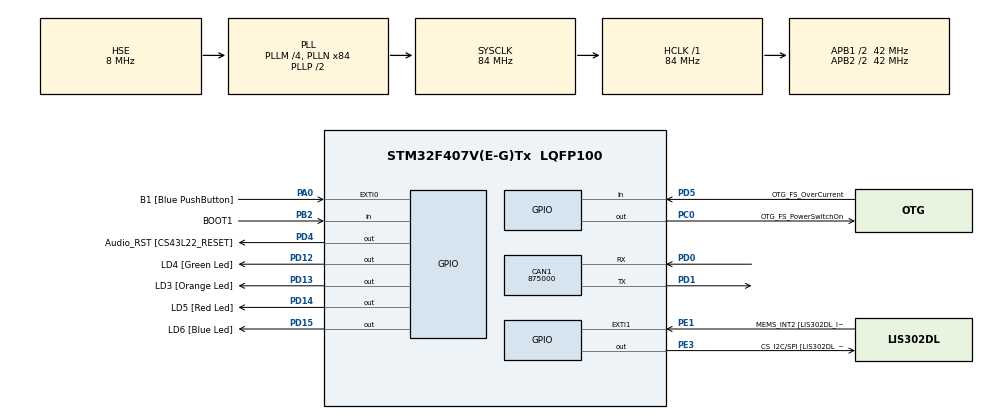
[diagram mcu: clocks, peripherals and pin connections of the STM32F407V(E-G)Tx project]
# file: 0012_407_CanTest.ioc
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CAN1.CalculateBaudRate=875000
CAN1.CalculateTimeBit=1142
CAN1.CalculateTimeQuantum=380.95238095238096
Mcu.Family=STM32F4
Mcu.Name=STM32F407V(E-G)Tx
Mcu.Package=LQFP100
NVIC.PriorityGroup=NVIC_PRIORITYGROUP_0
PA0-WKUP.GPIO_Label=B1 [Blue PushButton]
PA0-WKUP.GPIO_ModeDefaultEXTI=GPIO_MODE_EVT_RISING
PA0-WKUP.GPIO_PuPd=GPIO_NOPULL
PA0-WKUP.Signal=GPXTI0
PA10.GPIO_Label=OTG_FS_ID
PA10.GPIO_Mode=GPIO_MODE_AF_PP
PA10.GPIO_PuPd=GPIO_NOPULL
PA10.GPIO_Speed=GPIO_SPEED_FREQ_LOW
PA10.Signal=USB_OTG_FS_ID
PA11.GPIO_Label=OTG_FS_DM
PA11.GPIO_Mode=GPIO_MODE_AF_PP
PA11.GPIO_PuPd=GPIO_NOPULL
PA11.GPIO_Speed=GPIO_SPEED_FREQ_LOW
PA11.Signal=USB_OTG_FS_DM
PA12.GPIO_Label=OTG_FS_DP
PA12.GPIO_Mode=GPIO_MODE_AF_PP
PA12.GPIO_PuPd=GPIO_NOPULL
PA12.GPIO_Speed=GPIO_SPEED_FREQ_LOW
PA12.Signal=USB_OTG_FS_DP
PA13.GPIO_Label=SWDIO
PA13.Mode=Serial_Wire
PA13.Signal=SYS_JTMS-SWDIO
PA14.GPIO_Label=SWCLK
PA14.Mode=Serial_Wire
PA14.Signal=SYS_JTCK-SWCLK
PA4.GPIO_Label=I2S3_WS [CS43L22_LRCK]
PA4.GPIO_Mode=GPIO_MODE_AF_PP
PA4.GPIO_PuPd=GPIO_NOPULL
PA4.GPIO_Speed=GPIO_SPEED_FREQ_LOW
PA4.Signal=I2S3_WS
PA5.GPIO_Label=SPI1_SCK [LIS302DL_SCL/SPC]
PA5.GPIO_Mode=GPIO_MODE_AF_PP
PA5.GPIO_PuPd=GPIO_NOPULL
PA5.GPIO_Speed=GPIO_SPEED_FREQ_LOW
PA5.Signal=SPI1_SCK
PA6.GPIO_Label=SPI1_MISO [LIS302DL_SDO]
PA6.GPIO_Mode=GPIO_MODE_AF_PP
PA6.GPIO_PuPd=GPIO_NOPULL
PA6.GPIO_Speed=GPIO_SPEED_FREQ_LOW
PA6.Signal=SPI1_MISO
PA7.GPIO_Label=SPI1_MOSI [LIS302DL_SDA/SDI/SDO]
PA7.GPIO_Mode=GPIO_MODE_AF_PP
PA7.GPIO_PuPd=GPIO_NOPULL
PA7.GPIO_Speed=GPIO_SPEED_FREQ_LOW
PA7.Signal=SPI1_MOSI
PA9.GPIO_Label=VBUS_FS
PA9.GPIO_Mode=GPIO_MODE_INPUT
PA9.GPIO_PuPd=GPIO_NOPULL
PA9.Signal=USB_OTG_FS_VBUS
PB10.GPIO_Label=CLK_IN [MP45DT02_CLK]
PB10.GPIO_Mode=GPIO_MODE_AF_PP
PB10.GPIO_PuPd=GPIO_NOPULL
PB10.GPIO_Speed=GPIO_SPEED_FREQ_LOW
PB10.Signal=I2S2_CK
PB2.GPIO_Label=BOOT1
PB2.GPIO_Mode=GPIO_MODE_INPUT
PB2.GPIO_PuPd=GPIO_NOPULL
PB2.Signal=GPIO_Input
PB3.GPIO_Label=SWO
PB3.Signal=SYS_JTDO-SWO
PB6.GPIO_Label=Audio_SCL [CS43L22_SCL]
PB6.GPIO_Mode=GPIO_MODE_AF_OD
PB6.GPIO_Pu=GPIO_PULLUP
PB6.GPIO_PuPd=GPIO_NOPULL
PB6.GPIO_Speed=GPIO_SPEED_FREQ_LOW
PB6.Signal=I2C1_SCL
PC0.GPIO_Label=OTG_FS_PowerSwitchOn
PC0.GPIO_PuPd=GPIO_NOPULL
PC0.GPIO_Speed=GPIO_SPEED_FREQ_LOW
PC0.PinState=GPIO_PIN_SET
PC0.Signal=GPIO_Output
PC10.GPIO_Label=I2S3_SCK [CS43L22_SCLK]
PC10.GPIO_Mode=GPIO_MODE_AF_PP
PC10.GPIO_PuPd=GPIO_NOPULL
PC10.GPIO_Speed=GPIO_SPEED_FREQ_LOW
PC10.Signal=I2S3_CK
PC12.GPIO_Label=I2S3_SD [CS43L22_SDIN]
PC12.GPIO_Mode=GPIO_MODE_AF_PP
PC12.GPIO_PuPd=GPIO_NOPULL
PC12.GPIO_Speed=GPIO_SPEED_FREQ_LOW
PC12.Signal=I2S3_SD
PC14-OSC32_IN.GPIO_Label=PC14-OSC32_IN
PC14-OSC32_IN.Mode=LSE-External-Oscillator
PC14-OSC32_IN.Signal=RCC_OSC32_IN
PC15-OSC32_OUT.GPIO_Label=PC15-OSC32_OUT
PC15-OSC32_OUT.Mode=LSE-External-Oscillator
PC15-OSC32_OUT.Signal=RCC_OSC32_OUT
PC3.GPIO_Label=PDM_OUT [MP45DT02_DOUT]
PC3.GPIO_Mode=GPIO_MODE_AF_PP
PC3.GPIO_PuPd=GPIO_NOPULL
PC3.GPIO_Speed=GPIO_SPEED_FREQ_LOW
PC3.Signal=I2S2_SD
PC7.GPIO_Label=I2S3_MCK [CS43L22_MCLK]
PC7.GPIO_Mode=GPIO_MODE_AF_PP
PC7.GPIO_PuPd=GPIO_NOPULL
PC7.GPIO_Speed=GPIO_SPEED_FREQ_LOW
PC7.Signal=I2S3_MCK
PD0.Mode=CAN_Activate
PD0.Signal=CAN1_RX
PD1.Mode=CAN_Activate
PD1.Signal=CAN1_TX
PD12.GPIO_Label=LD4 [Green Led]
PD12.GPIO_PuPd=GPIO_NOPULL
PD12.GPIO_Speed=GPIO_SPEED_FREQ_LOW
PD12.Signal=GPIO_Output
PD13.GPIO_Label=LD3 [Orange Led]
PD13.GPIO_PuPd=GPIO_NOPULL
PD13.GPIO_Speed=GPIO_SPEED_FREQ_LOW
PD13.Signal=GPIO_Output
PD14.GPIO_Label=LD5 [Red Led]
PD14.GPIO_PuPd=GPIO_NOPULL
PD14.GPIO_Speed=GPIO_SPEED_FREQ_LOW
PD14.Signal=GPIO_Output
PD15.GPIO_Label=LD6 [Blue Led]
PD15.GPIO_PuPd=GPIO_NOPULL
PD15.GPIO_Speed=GPIO_SPEED_FREQ_LOW
PD15.Signal=GPIO_Output
PD4.GPIO_Label=Audio_RST [CS43L22_RESET]
PD4.GPIO_PuPd=GPIO_NOPULL
PD4.GPIO_Speed=GPIO_SPEED_FREQ_LOW
PD4.Signal=GPIO_Output
PD5.GPIO_Label=OTG_FS_OverCurrent
PD5.GPIO_Mode=GPIO_MODE_INPUT
PD5.GPIO_PuPd=GPIO_NOPULL
PD5.Signal=GPIO_Input
PE1.GPIO_Label=MEMS_INT2 [LIS302DL_INT2]
PE1.GPIO_ModeDefaultEXTI=GPIO_MODE_EVT_RISING
PE1.GPIO_PuPd=GPIO_NOPULL
PE1.Signal=GPXTI1
PE3.GPIO_Label=CS_I2C/SPI [LIS302DL_CS_I2C/SPI]
PE3.GPIO_PuPd=GPIO_NOPULL
PE3.GPIO_Speed=GPIO_SPEED_FREQ_LOW
PE3.Signal=GPIO_Output
PH0-OSC_IN.GPIO_Label=PH0-OSC_IN
PH0-OSC_IN.Mode=HSE-External-Oscillator
PH0-OSC_IN.Signal=RCC_OSC_IN
PH1-OSC_OUT.GPIO_Label=PH1-OSC_OUT
PH1-OSC_OUT.Mode=HSE-External-Oscillator
PH1-OSC_OUT.Signal=RCC_OSC_OUT
ProjectManager.HeapSize=0x2000
ProjectManager.StackSize=0x4000
ProjectManager.TargetToolchain=STM32CubeIDE
RCC.48MHZClocksFreq_Value=24000000
RCC.AHBFreq_Value=84000000
RCC.APB1CLKDivider=RCC_HCLK_DIV2
RCC.APB1Freq_Value=42000000
RCC.APB1TimFreq_Value=84000000
RCC.APB2CLKDivider=RCC_HCLK_DIV2
RCC.APB2Freq_Value=42000000
RCC.APB2TimFreq_Value=84000000
RCC.CortexFreq_Value=84000000
RCC.HCLKFreq_Value=84000000
RCC.HSE_VALUE=8000000
RCC.HSI_VALUE=16000000
RCC.PLLM=4
RCC.PLLN=84
RCC.PLLQ=7
RCC.PLLSourceVirtual=RCC_PLLSOURCE_HSE
RCC.SYSCLKFreq_VALUE=84000000
RCC.SYSCLKSource=RCC_SYSCLKSOURCE_PLLCLK
RCC.VCOOutputFreq_Value=168000000
board=STM32F407G-DISC1

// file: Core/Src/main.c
/* USER CODE BEGIN Header */
/**
  ******************************************************************************
  * @file           : main.c
  * @brief          : Main program body
  ******************************************************************************
  * @attention
  *
  * Copyright (c) 2022 STMicroelectronics.
  * All rights reserved.
  *
  * This software is licensed under terms that can be found in the LICENSE file
  * in the root directory of this software component.
  * If no LICENSE file comes with this software, it is provided AS-IS.
  *
  ******************************************************************************
  */
/* USER CODE END Header */
#include "main.h"

CAN_HandleTypeDef hcan1;

/* USER CODE BEGIN PV */
CAN_TxHeaderTypeDef pHeader; //declare a specific header for message transmittions
CAN_RxHeaderTypeDef pRxHeader; //declare header for message reception
uint32_t TxMailbox;
uint8_t a[8],r[8]; //declare byte to be transmitted //declare a receive byte
CAN_FilterTypeDef sFilterConfig; //declare CAN filter structure
/* USER CODE END PV */

void SystemClock_Config(void);
static void MX_GPIO_Init(void);
static void MX_CAN1_Init(void);

int main(void)
{

  /* MCU Configuration--------------------------------------------------------*/

  /* Reset of all peripherals, Initializes the Flash interface and the Systick. */
  HAL_Init();

  /* Configure the system clock */
  SystemClock_Config();

  /* Initialize all configured peripherals */
  MX_GPIO_Init();
  MX_CAN1_Init();

  /* USER CODE BEGIN 2 */

  HAL_CAN_MspInit(&hcan1);

  //filter one (stack light blink)
  sFilterConfig.FilterFIFOAssignment=CAN_FILTER_FIFO0; //set fifo assignment
  sFilterConfig.FilterIdHigh=0; //the ID that the filter looks for (switch this for the other microcontroller)
  sFilterConfig.FilterIdLow=0;
  sFilterConfig.FilterMaskIdHigh=0;
  sFilterConfig.FilterMaskIdLow=0;
  sFilterConfig.FilterScale=CAN_FILTERSCALE_32BIT; //set filter scale
  sFilterConfig.FilterActivation= CAN_FILTER_ENABLE;

  HAL_CAN_ConfigFilter(&hcan1, &sFilterConfig); //configure CAN filter

  HAL_CAN_Start(&hcan1); //start CAN
  HAL_CAN_ActivateNotification(&hcan1, CAN_IT_RX_FIFO0_MSG_PENDING | CAN_IT_TX_MAILBOX_EMPTY); //enable interrupts

  pHeader.DLC=1; //give message size of 1 byte
  pHeader.IDE=CAN_ID_STD; //set identifier to standard
  pHeader.RTR=CAN_RTR_DATA; //set data type to remote transmission request?
  pHeader.StdId=0x244; //define a standard identifier, used for message identification by filters (switch this for the other microcontroller)

  /* USER CODE END 2 */

  /* Infinite loop */
  while (1)
  {

    /* USER CODE BEGIN 3 */

  	if (HAL_CAN_AddTxMessage(&hcan1, &pHeader, a, &TxMailbox) != HAL_OK)
  	{
  	   Error_Handler ();
  	}

  	HAL_Delay(500);
  	HAL_GPIO_WritePin(GPIOD, GPIO_PIN_15, GPIO_PIN_RESET);
  	HAL_Delay(500);
  	HAL_GPIO_WritePin(GPIOD, GPIO_PIN_15, GPIO_PIN_SET);

  }

  /* USER CODE END 3 */
}

void SystemClock_Config(void)
{
  RCC_OscInitTypeDef RCC_OscInitStruct = {0};
  RCC_ClkInitTypeDef RCC_ClkInitStruct = {0};

  /** Configure the main internal regulator output voltage
  */
  __HAL_RCC_PWR_CLK_ENABLE();
  __HAL_PWR_VOLTAGESCALING_CONFIG(PWR_REGULATOR_VOLTAGE_SCALE1);

  /** Initializes the RCC Oscillators according to the specified parameters
  * in the RCC_OscInitTypeDef structure.
  */
  RCC_OscInitStruct.OscillatorType = RCC_OSCILLATORTYPE_HSE;
  RCC_OscInitStruct.HSEState = RCC_HSE_ON;
  RCC_OscInitStruct.PLL.PLLState = RCC_PLL_ON;
  RCC_OscInitStruct.PLL.PLLSource = RCC_PLLSOURCE_HSE;
  RCC_OscInitStruct.PLL.PLLM = 4;
  RCC_OscInitStruct.PLL.PLLN = 84;
  RCC_OscInitStruct.PLL.PLLP = RCC_PLLP_DIV2;
  RCC_OscInitStruct.PLL.PLLQ = 7;
  if (HAL_RCC_OscConfig(&RCC_OscInitStruct) != HAL_OK)
  {
    Error_Handler();
  }

  /** Initializes the CPU, AHB and APB buses clocks
  */
  RCC_ClkInitStruct.ClockType = RCC_CLOCKTYPE_HCLK|RCC_CLOCKTYPE_SYSCLK
                              |RCC_CLOCKTYPE_PCLK1|RCC_CLOCKTYPE_PCLK2;
  RCC_ClkInitStruct.SYSCLKSource = RCC_SYSCLKSOURCE_PLLCLK;
  RCC_ClkInitStruct.AHBCLKDivider = RCC_SYSCLK_DIV1;
  RCC_ClkInitStruct.APB1CLKDivider = RCC_HCLK_DIV2;
  RCC_ClkInitStruct.APB2CLKDivider = RCC_HCLK_DIV2;

  if (HAL_RCC_ClockConfig(&RCC_ClkInitStruct, FLASH_LATENCY_2) != HAL_OK)
  {
    Error_Handler();
  }
}

static void MX_CAN1_Init(void)
{

  hcan1.Instance = CAN1;
  hcan1.Init.Prescaler = 16;
  hcan1.Init.Mode = CAN_MODE_NORMAL;
  hcan1.Init.SyncJumpWidth = CAN_SJW_1TQ;
  hcan1.Init.TimeSeg1 = CAN_BS1_1TQ;
  hcan1.Init.TimeSeg2 = CAN_BS2_1TQ;
  hcan1.Init.TimeTriggeredMode = DISABLE;
  hcan1.Init.AutoBusOff = DISABLE;
  hcan1.Init.AutoWakeUp = DISABLE;
  hcan1.Init.AutoRetransmission = DISABLE;
  hcan1.Init.ReceiveFifoLocked = DISABLE;
  hcan1.Init.TransmitFifoPriority = DISABLE;
  if (HAL_CAN_Init(&hcan1) != HAL_OK)
  {
    Error_Handler();
  }

}

static void MX_GPIO_Init(void)
{
  GPIO_InitTypeDef GPIO_InitStruct = {0};

  /* GPIO Ports Clock Enable */
  __HAL_RCC_GPIOE_CLK_ENABLE();
  __HAL_RCC_GPIOC_CLK_ENABLE();
  __HAL_RCC_GPIOH_CLK_ENABLE();
  __HAL_RCC_GPIOA_CLK_ENABLE();
  __HAL_RCC_GPIOB_CLK_ENABLE();
  __HAL_RCC_GPIOD_CLK_ENABLE();

  /*Configure GPIO pin Output Level */
  HAL_GPIO_WritePin(CS_I2C_SPI_GPIO_Port, CS_I2C_SPI_Pin, GPIO_PIN_RESET);

  /*Configure GPIO pin Output Level */
  HAL_GPIO_WritePin(OTG_FS_PowerSwitchOn_GPIO_Port, OTG_FS_PowerSwitchOn_Pin, GPIO_PIN_SET);

  /*Configure GPIO pin Output Level */
  HAL_GPIO_WritePin(GPIOD, LD4_Pin|LD3_Pin|LD5_Pin|LD6_Pin
                          |Audio_RST_Pin, GPIO_PIN_RESET);

  /*Configure GPIO pin : CS_I2C_SPI_Pin */
  GPIO_InitStruct.Pin = CS_I2C_SPI_Pin;
  GPIO_InitStruct.Mode = GPIO_MODE_OUTPUT_PP;
  GPIO_InitStruct.Pull = GPIO_NOPULL;
  GPIO_InitStruct.Speed = GPIO_SPEED_FREQ_LOW;
  HAL_GPIO_Init(CS_I2C_SPI_GPIO_Port, &GPIO_InitStruct);

  /*Configure GPIO pin : OTG_FS_PowerSwitchOn_Pin */
  GPIO_InitStruct.Pin = OTG_FS_PowerSwitchOn_Pin;
  GPIO_InitStruct.Mode = GPIO_MODE_OUTPUT_PP;
  GPIO_InitStruct.Pull = GPIO_NOPULL;
  GPIO_InitStruct.Speed = GPIO_SPEED_FREQ_LOW;
  HAL_GPIO_Init(OTG_FS_PowerSwitchOn_GPIO_Port, &GPIO_InitStruct);

  /*Configure GPIO pin : PDM_OUT_Pin */
  GPIO_InitStruct.Pin = PDM_OUT_Pin;
  GPIO_InitStruct.Mode = GPIO_MODE_AF_PP;
  GPIO_InitStruct.Pull = GPIO_NOPULL;
  GPIO_InitStruct.Speed = GPIO_SPEED_FREQ_LOW;
  GPIO_InitStruct.Alternate = GPIO_AF5_SPI2;
  HAL_GPIO_Init(PDM_OUT_GPIO_Port, &GPIO_InitStruct);

  /*Configure GPIO pin : B1_Pin */
  GPIO_InitStruct.Pin = B1_Pin;
  GPIO_InitStruct.Mode = GPIO_MODE_EVT_RISING;
  GPIO_InitStruct.Pull = GPIO_NOPULL;
  HAL_GPIO_Init(B1_GPIO_Port, &GPIO_InitStruct);

  /*Configure GPIO pin : I2S3_WS_Pin */
  GPIO_InitStruct.Pin = I2S3_WS_Pin;
  GPIO_InitStruct.Mode = GPIO_MODE_AF_PP;
  GPIO_InitStruct.Pull = GPIO_NOPULL;
  GPIO_InitStruct.Speed = GPIO_SPEED_FREQ_LOW;
  GPIO_InitStruct.Alternate = GPIO_AF6_SPI3;
  HAL_GPIO_Init(I2S3_WS_GPIO_Port, &GPIO_InitStruct);

  /*Configure GPIO pins : SPI1_SCK_Pin SPI1_MISO_Pin SPI1_MOSI_Pin */
  GPIO_InitStruct.Pin = SPI1_SCK_Pin|SPI1_MISO_Pin|SPI1_MOSI_Pin;
  GPIO_InitStruct.Mode = GPIO_MODE_AF_PP;
  GPIO_InitStruct.Pull = GPIO_NOPULL;
  GPIO_InitStruct.Speed = GPIO_SPEED_FREQ_LOW;
  GPIO_InitStruct.Alternate = GPIO_AF5_SPI1;
  HAL_GPIO_Init(GPIOA, &GPIO_InitStruct);

  /*Configure GPIO pin : BOOT1_Pin */
  GPIO_InitStruct.Pin = BOOT1_Pin;
  GPIO_InitStruct.Mode = GPIO_MODE_INPUT;
  GPIO_InitStruct.Pull = GPIO_NOPULL;
  HAL_GPIO_Init(BOOT1_GPIO_Port, &GPIO_InitStruct);

  /*Configure GPIO pin : CLK_IN_Pin */
  GPIO_InitStruct.Pin = CLK_IN_Pin;
  GPIO_InitStruct.Mode = GPIO_MODE_AF_PP;
  GPIO_InitStruct.Pull = GPIO_NOPULL;
  GPIO_InitStruct.Speed = GPIO_SPEED_FREQ_LOW;
  GPIO_InitStruct.Alternate = GPIO_AF5_SPI2;
  HAL_GPIO_Init(CLK_IN_GPIO_Port, &GPIO_InitStruct);

  /*Configure GPIO pins : LD4_Pin LD3_Pin LD5_Pin LD6_Pin
                           Audio_RST_Pin */
  GPIO_InitStruct.Pin = LD4_Pin|LD3_Pin|LD5_Pin|LD6_Pin
                          |Audio_RST_Pin;
  GPIO_InitStruct.Mode = GPIO_MODE_OUTPUT_PP;
  GPIO_InitStruct.Pull = GPIO_NOPULL;
  GPIO_InitStruct.Speed = GPIO_SPEED_FREQ_LOW;
  HAL_GPIO_Init(GPIOD, &GPIO_InitStruct);

  /*Configure GPIO pins : I2S3_MCK_Pin I2S3_SCK_Pin I2S3_SD_Pin */
  GPIO_InitStruct.Pin = I2S3_MCK_Pin|I2S3_SCK_Pin|I2S3_SD_Pin;
  GPIO_InitStruct.Mode = GPIO_MODE_AF_PP;
  GPIO_InitStruct.Pull = GPIO_NOPULL;
  GPIO_InitStruct.Speed = GPIO_SPEED_FREQ_LOW;
  GPIO_InitStruct.Alternate = GPIO_AF6_SPI3;
  HAL_GPIO_Init(GPIOC, &GPIO_InitStruct);

  /*Configure GPIO pin : VBUS_FS_Pin */
  GPIO_InitStruct.Pin = VBUS_FS_Pin;
  GPIO_InitStruct.Mode = GPIO_MODE_INPUT;
  GPIO_InitStruct.Pull = GPIO_NOPULL;
  HAL_GPIO_Init(VBUS_FS_GPIO_Port, &GPIO_InitStruct);

  /*Configure GPIO pins : OTG_FS_ID_Pin OTG_FS_DM_Pin OTG_FS_DP_Pin */
  GPIO_InitStruct.Pin = OTG_FS_ID_Pin|OTG_FS_DM_Pin|OTG_FS_DP_Pin;
  GPIO_InitStruct.Mode = GPIO_MODE_AF_PP;
  GPIO_InitStruct.Pull = GPIO_NOPULL;
  GPIO_InitStruct.Speed = GPIO_SPEED_FREQ_LOW;
  GPIO_InitStruct.Alternate = GPIO_AF10_OTG_FS;
  HAL_GPIO_Init(GPIOA, &GPIO_InitStruct);

  /*Configure GPIO pin : OTG_FS_OverCurrent_Pin */
  GPIO_InitStruct.Pin = OTG_FS_OverCurrent_Pin;
  GPIO_InitStruct.Mode = GPIO_MODE_INPUT;
  GPIO_InitStruct.Pull = GPIO_NOPULL;
  HAL_GPIO_Init(OTG_FS_OverCurrent_GPIO_Port, &GPIO_InitStruct);

  /*Configure GPIO pin : Audio_SCL_Pin */
  GPIO_InitStruct.Pin = Audio_SCL_Pin;
  GPIO_InitStruct.Mode = GPIO_MODE_AF_OD;
  GPIO_InitStruct.Pull = GPIO_PULLUP;
  GPIO_InitStruct.Speed = GPIO_SPEED_FREQ_LOW;
  GPIO_InitStruct.Alternate = GPIO_AF4_I2C1;
  HAL_GPIO_Init(Audio_SCL_GPIO_Port, &GPIO_InitStruct);

  /*Configure GPIO pin : MEMS_INT2_Pin */
  GPIO_InitStruct.Pin = MEMS_INT2_Pin;
  GPIO_InitStruct.Mode = GPIO_MODE_EVT_RISING;
  GPIO_InitStruct.Pull = GPIO_NOPULL;
  HAL_GPIO_Init(MEMS_INT2_GPIO_Port, &GPIO_InitStruct);

}

void Error_Handler(void)
{
  __disable_irq();
  while (1)
  {
  }
}
